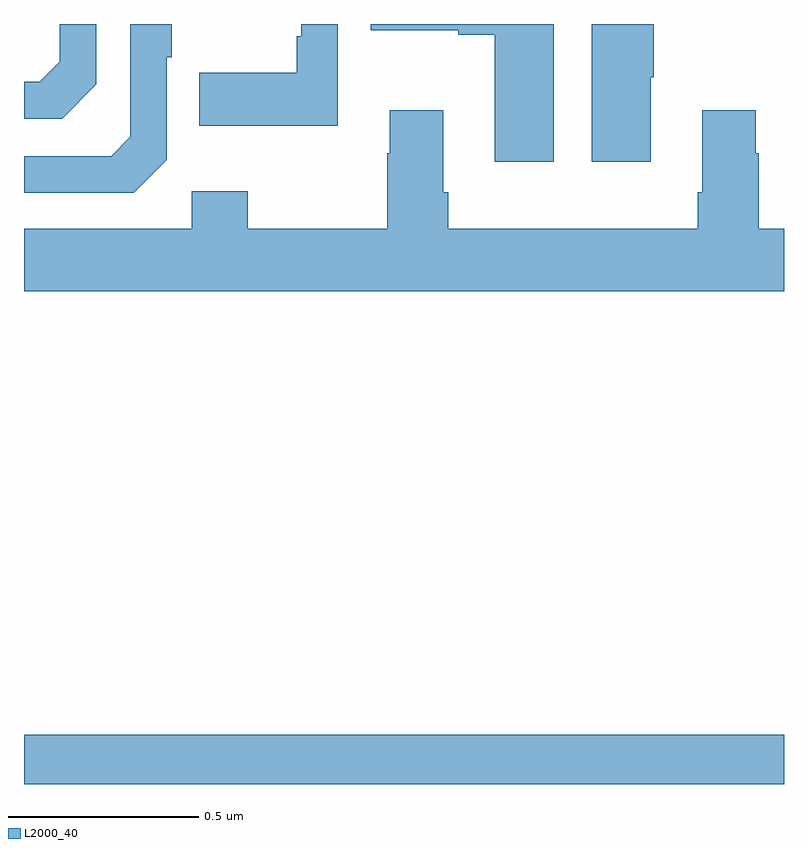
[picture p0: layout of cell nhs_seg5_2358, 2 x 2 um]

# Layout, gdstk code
import gdstk
lib = gdstk.Library(unit=1e-6, precision=1e-09)
def R(c, l, rs):  # rectangles x0, y0, x1, y1
    for r in rs: c.add(gdstk.rectangle(r[:2], r[2:], *l))
def P(c, l, *ps):  # polygons
    for p in ps: c.add(gdstk.Polygon(p, *l))
L2000_40 = (2000, 40)

nhs_seg5_2358 = lib.new_cell('nhs_seg5_2358')
R(nhs_seg5_2358, L2000_40, [(143,852.799,145,852.928)])
P(nhs_seg5_2358, L2000_40, [(143.376,854.442),(143.376,854.711),(143.389,854.711),(143.389,854.799),(143.28,854.799),(143.28,854.502),(143.229,854.451),(143,854.451),(143,854.355),(143.289,854.355)],
  [(143.19,854.64),(143.19,854.799),(143.094,854.799),(143.094,854.7),(143.041,854.647),(143,854.647),(143,854.55),(143.1,854.55)],
  [(143.826,854.799),(143.73,854.799),(143.73,854.767),(143.718,854.767),(143.718,854.671),(143.461,854.671),(143.461,854.531),(143.826,854.531)],
  [(144.649,854.659),(144.657,854.659),(144.657,854.799),(144.494,854.799),(144.494,854.436),(144.649,854.436)],
  [(144.394,854.799),(143.913,854.799),(143.913,854.783),(144.143,854.783),(144.143,854.771),(144.239,854.771),(144.239,854.436),(144.394,854.436)],
  [(145,854.26),(144.933,854.26),(144.933,854.459),(144.925,854.459),(144.925,854.572),(144.785,854.572),(144.785,854.356),(144.773,854.356),(144.773,854.26),(144.116,854.26),(144.116,854.356),(144.103,854.356),(144.103,854.572),(143.963,854.572),(143.963,854.459),(143.956,854.459),(143.956,854.26),(143.589,854.26),(143.589,854.359),(143.442,854.359),(143.442,854.26),(143,854.26),(143,854.096),(145,854.096)])

lib.write_gds('nhs_seg5_2358.gds')
